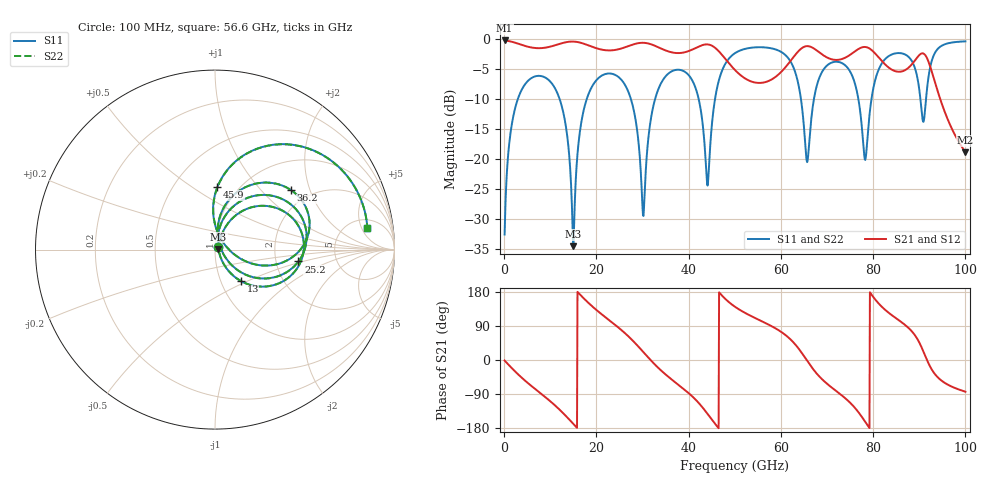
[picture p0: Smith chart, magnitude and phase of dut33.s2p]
! Touchstone file exported from HFSS 2026.1.0
!  File:  C:/ffzhzh/LocalFiles/Ansys_Project_Files/temp_train_TSV_RDL_33_1783617357_33328.aedt
!  Generated:  01:24:37 AM Jul 10, 2026
!  Design:  TSV_RDL
!  Project:  temp_train_TSV_RDL_33_1783617357_33328
! Variables:
!  h_bsmrdl = 2.43um
!  h_ox = 20um
!  h_rdl = 5um
!  h_sub = 72.01um
!  h_tmrdl = 3.12um
!  h_tsv = 72.01um
!  h_via = 3um
!  l_bsmrdl = 451.63um
!  l_sub = 3655.24um
!  l_tmrdl = 440.64um
!  m_sub = 200um
!  pitch = 54.03um
!  r_tsv = 14.96um
!  s_tmrdl = 10um
!  w_bsmrdl = 28.57um
!  w_sub = 500um
!  w_tmrdl = 17.36um
!  x_tsv_center1 = 449.32um
!  x_tsv_center2 = 929.52um
!  x_tsv_center3 = 1387.52um
!  x_tsv_center4 = 1867.72um
!  x_tsv_center5 = 2325.72um
!  x_tsv_center6 = 2805.92um
# GHz S MA R 50.000000
! Terminal data exported
! Port[1] = TM_RDL1_1_T1
! Port[2] = TM_RDL5_1_T1
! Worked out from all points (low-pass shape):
!   1000 points, 100 MHz to 100 GHz, reference 50 ohm
!   highest |S21| = -0.17 dB at 100 MHz (marker M1); lowest = -18.8 dB at 100 GHz (marker M2)
!   |S21| within 3 dB of the highest: start of sweep to 47.86 GHz; 62.51 GHz to 70.43 GHz (7.922 GHz wide, 11.9 % of centre)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
!   lowest |S11| = -34.6 dB at 15 GHz (marker M3), VSWR 1.04, Z = 51.9 + j0.418 ohm
!   |S11| at or under -10 dB: 12.04 GHz to 17.89 GHz (5.855 GHz wide, 39.1 % of centre); 27.49 GHz to 32.71 GHz (5.219 GHz wide, 17.3 % of centre); 42.18 GHz to 45.71 GHz (3.527 GHz wide, 8.03 % of centre)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
!   |S22| runs from -34.4 to -0.3 dB; largest |S21 - S12| = 1.1e-12
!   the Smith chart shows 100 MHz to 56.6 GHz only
!   S11 on the Smith chart (normalised r, x): 100 MHz: 1.04, +0.03; 13 GHz: 1.24, -0.46; 25.2 GHz: 2.68, -0.45; 36.2 GHz: 1.61, +1.50; 45.9 GHz: 0.80, +0.64; 56.6 GHz: 7.06, +6.45
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0.1  0.02334 33.4  0.9807 -1.4  0.9807 -1.4  0.02334 33.4
! Gamma 0 0 0 0
! Port Impedance 50 0 50 0
4.2  0.4037 35.8  0.8908 -51.0  0.8908 -51.0  0.4037 35.8
13  0.2275 -50.5  0.9405 -142.9  0.9405 -142.9  0.2275 -50.4
15  0.01867 12.5  0.9598 -168.5  0.9598 -168.5  0.01905 12.5
16.8  0.2104 72.1  0.9334 168.3  0.9334 168.3  0.2104 71.9
25.2  0.4694 -8.1  0.8355 81.3  0.8355 81.3  0.4696 -8.2
30.1  0.03389 7.2  0.9378 22.0  0.9378 22.0  0.03336 6.5
33.4  0.3812 64.7  0.8609 -20.6  0.8609 -20.6  0.381 64.7
36.2  0.5381 38.0  0.7822 -50.2  0.7822 -50.2  0.538 38.0
41.4  0.4022 -9.0  0.8443 -103.3  0.8443 -103.3  0.4022 -8.9
44.1  0.05999 37.1  0.9086 -142.2  0.9086 -142.2  0.06064 37.1
45.9  0.3494 87.8  0.8412 -171.1  0.8412 -171.1  0.3496 87.6
50.1  0.7703 46.7  0.5523 140.0  0.5523 140.0  0.7703 46.6
56.6  0.8574 8.1  0.4394 97.9  0.4394 97.9  0.8574 8.0
62.9  0.561 -38.4  0.7257 44.0  0.7257 44.0  0.5605 -38.9
65.6  0.09643 -12.2  0.8792 -0.4  0.8792 -0.4  0.09 -13.3
66.7  0.2372 49.1  0.8598 -19.5  0.8598 -19.5  0.2347 50.5
73.5  0.6257 -4.7  0.6916 -96.3  0.6916 -96.3  0.6255 -4.3
78.3  0.09829 19.5  0.8649 -163.4  0.8649 -163.4  0.1006 19.6
83.4  0.7268 30.8  0.5809 124.3  0.5809 124.3  0.7268 30.8
91.2  0.2444 42.9  0.7473 13.5  0.7473 13.5  0.2461 42.7
100  0.9642 2.4  0.1142 -83.6  0.1142 -83.6  0.9642 2.3
